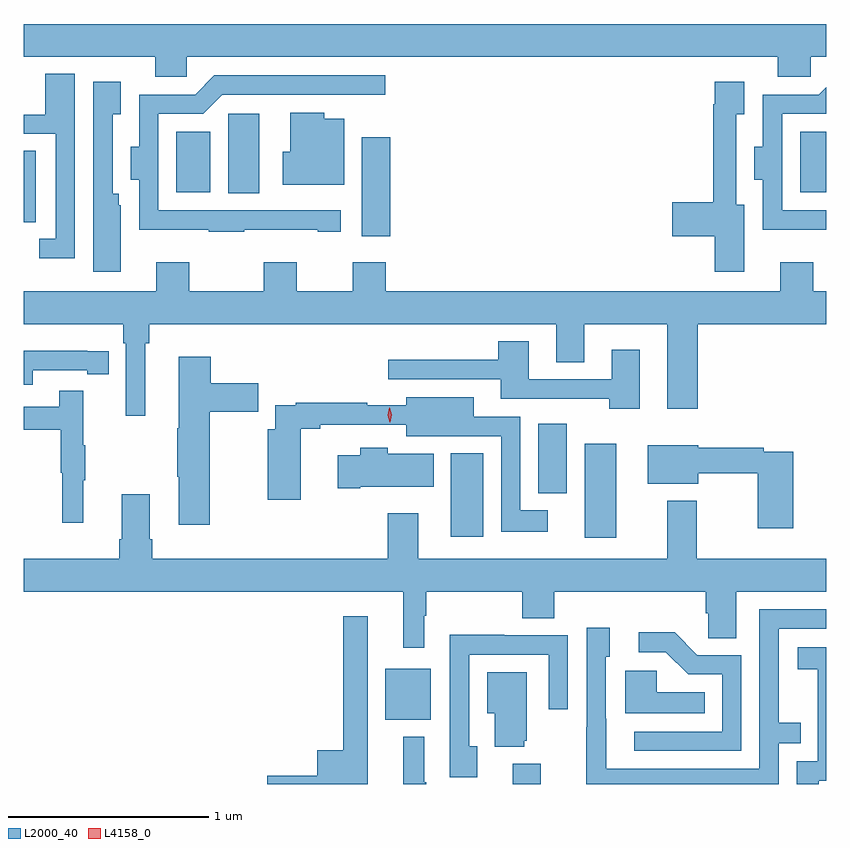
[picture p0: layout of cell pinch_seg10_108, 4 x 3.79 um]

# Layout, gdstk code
import gdstk
lib = gdstk.Library(unit=1e-6, precision=1e-09)
def R(c, l, rs):  # rectangles x0, y0, x1, y1
    for r in rs: c.add(gdstk.rectangle(r[:2], r[2:], *l))
def P(c, l, *ps):  # polygons
    for p in ps: c.add(gdstk.Polygon(p, *l))
L2000_40 = (2000, 40)
L4158_0 = (4158, 0)

pinch_seg10_108 = lib.new_cell('pinch_seg10_108')
R(pinch_seg10_108, L2000_40, [(673.607,1298.025,673.747,1298.125), (672.971,1298.345,673.198,1298.599), (673.964,1299.252,674.122,1299.721), (673.298,1299.258,673.459,1299.673), (673.733,1299.473,673.876,1299.82), (672.854,1300.755,672.995,1301.248), (671.169,1300.824,671.23,1301.18), (672.188,1300.969,672.343,1301.364), (671.93,1300.973,672.1,1301.275), (675.038,1300.973,675.169,1301.275)])
P(pinch_seg10_108, L2000_40, [(671.982,1301.648),(674.927,1301.648),(674.927,1301.55),(675.09,1301.55),(675.09,1301.648),(675.169,1301.648),(675.169,1301.812),(671.169,1301.812),(671.169,1301.648),(671.824,1301.648),(671.824,1301.55),(671.982,1301.55)],
  [(671.424,1301.563),(671.276,1301.563),(671.276,1301.361),(671.169,1301.361),(671.169,1301.265),(671.328,1301.265),(671.328,1300.743),(671.247,1300.743),(671.247,1300.646),(671.424,1300.646)],
  [(672.269,1300.787),(672.635,1300.787),(672.635,1300.776),(672.748,1300.776),(672.748,1300.884),(671.841,1300.884),(671.841,1301.364),(672.063,1301.364),(672.159,1301.46),(672.97,1301.46),(672.97,1301.556),(672.12,1301.556),(672.024,1301.46),(671.744,1301.46),(671.744,1301.2),(671.702,1301.2),(671.702,1301.036),(671.745,1301.036),(671.745,1300.787),(672.091,1300.787),(672.091,1300.776),(672.269,1300.776)],
  [(671.653,1300.908),(671.644,1300.908),(671.644,1300.966),(671.613,1300.966),(671.613,1301.363),(671.653,1301.363),(671.653,1301.524),(671.517,1301.524),(671.517,1300.862),(671.516,1300.862),(671.516,1300.578),(671.653,1300.578)],
  [(674.761,1300.912),(674.721,1300.912),(674.721,1301.363),(674.761,1301.363),(674.761,1301.524),(674.613,1301.524),(674.613,1301.411),(674.605,1301.411),(674.605,1300.925),(674.4,1300.925),(674.4,1300.754),(674.612,1300.754),(674.612,1300.578),(674.761,1300.578)],
  [(675.169,1300.884),(674.949,1300.884),(674.949,1301.364),(675.169,1301.364),(675.169,1301.497),(675.132,1301.46),(674.852,1301.46),(674.852,1301.2),(674.81,1301.2),(674.81,1301.036),(674.853,1301.036),(674.853,1300.787),(675.169,1300.787)],
  [(672.766,1301.341),(672.668,1301.341),(672.668,1301.371),(672.497,1301.371),(672.497,1301.176),(672.461,1301.176),(672.461,1301.012),(672.766,1301.012)],
  [(671.776,1300.22),(671.795,1300.22),(671.795,1300.316),(673.823,1300.316),(673.823,1300.126),(673.963,1300.126),(673.963,1300.316),(674.375,1300.316),(674.375,1299.894),(674.528,1299.894),(674.528,1300.316),(675.169,1300.316),(675.169,1300.48),(675.103,1300.48),(675.103,1300.624),(674.939,1300.624),(674.939,1300.48),(672.973,1300.48),(672.973,1300.624),(672.809,1300.624),(672.809,1300.48),(672.529,1300.48),(672.529,1300.624),(672.365,1300.624),(672.365,1300.48),(671.995,1300.48),(671.995,1300.624),(671.831,1300.624),(671.831,1300.48),(671.169,1300.48),(671.169,1300.316),(671.666,1300.316),(671.666,1300.22),(671.679,1300.22),(671.679,1299.861),(671.776,1299.861)],
  [(674.239,1300.189),(674.099,1300.189),(674.099,1300.041),(673.687,1300.041),(673.687,1300.231),(673.535,1300.231),(673.535,1300.138),(672.987,1300.138),(672.987,1300.041),(673.547,1300.041),(673.547,1299.945),(674.087,1299.945),(674.087,1299.894),(674.239,1299.894)],
  [(671.214,1300.086),(671.486,1300.086),(671.486,1300.066),(671.594,1300.066),(671.594,1300.182),(671.486,1300.182),(671.486,1300.183),(671.169,1300.183),(671.169,1300.014),(671.214,1300.014)],
  [(672.096,1299.881),(672.337,1299.881),(672.337,1300.023),(672.101,1300.023),(672.101,1300.153),(671.942,1300.153),(671.942,1299.797),(671.935,1299.797),(671.935,1299.556),(671.942,1299.556),(671.942,1299.318),(672.096,1299.318)],
  [(671.465,1299.539),(671.476,1299.539),(671.476,1299.713),(671.465,1299.713),(671.465,1299.985),(671.347,1299.985),(671.347,1299.906),(671.169,1299.906),(671.169,1299.79),(671.355,1299.79),(671.355,1299.576),(671.362,1299.576),(671.362,1299.327),(671.465,1299.327)],
  [(673.78,1299.388),(673.644,1299.388),(673.644,1299.855),(673.411,1299.855),(673.411,1299.952),(673.076,1299.952),(673.076,1299.912),(672.88,1299.912),(672.88,1299.925),(672.526,1299.925),(672.526,1299.912),(672.422,1299.912),(672.422,1299.793),(672.385,1299.793),(672.385,1299.441),(672.55,1299.441),(672.55,1299.796),(672.646,1299.796),(672.646,1299.816),(673.076,1299.816),(673.076,1299.758),(673.302,1299.758),(673.302,1299.759),(673.548,1299.759),(673.548,1299.281),(673.78,1299.281)],
  [(675.005,1299.681),(674.858,1299.681),(674.858,1299.701),(674.53,1299.701),(674.53,1299.712),(674.279,1299.712),(674.279,1299.521),(674.53,1299.521),(674.53,1299.573),(674.827,1299.573),(674.827,1299.3),(675.005,1299.3)],
  [(672.847,1299.506),(673.213,1299.506),(673.213,1299.67),(672.984,1299.67),(672.984,1299.7),(672.847,1299.7),(672.847,1299.664),(672.735,1299.664),(672.735,1299.499),(672.847,1299.499)],
  [(673.165,1298.863),(673.175,1298.863),(673.175,1298.984),(673.654,1298.984),(673.654,1298.851),(673.814,1298.851),(673.814,1298.984),(674.567,1298.984),(674.567,1298.875),(674.58,1298.875),(674.58,1298.752),(674.719,1298.752),(674.719,1298.984),(675.169,1298.984),(675.169,1299.148),(674.523,1299.148),(674.523,1299.436),(674.375,1299.436),(674.375,1299.148),(673.135,1299.148),(673.135,1299.373),(672.983,1299.373),(672.983,1299.148),(671.81,1299.148),(671.81,1299.244),(671.797,1299.244),(671.797,1299.469),(671.657,1299.469),(671.657,1299.244),(671.645,1299.244),(671.645,1299.148),(671.169,1299.148),(671.169,1298.984),(673.061,1298.984),(673.061,1298.703),(673.165,1298.703)],
  [(674.931,1298.229),(675.041,1298.229),(675.041,1298.33),(674.931,1298.33),(674.931,1298.799),(675.169,1298.799),(675.169,1298.895),(674.835,1298.895),(674.835,1298.1),(674.071,1298.1),(674.071,1298.351),(674.07,1298.351),(674.07,1298.658),(674.089,1298.658),(674.089,1298.803),(673.974,1298.803),(673.974,1298.309),(673.972,1298.309),(673.972,1298.025),(674.931,1298.025)],
  [(672.883,1298.86),(672.762,1298.86),(672.762,1298.194),(672.632,1298.194),(672.632,1298.066),(672.384,1298.066),(672.384,1298.025),(672.883,1298.025)],
  [(674.745,1298.667),(674.526,1298.667),(674.413,1298.78),(674.235,1298.78),(674.235,1298.682),(674.369,1298.682),(674.48,1298.571),(674.649,1298.571),(674.649,1298.286),(674.211,1298.286),(674.211,1298.19),(674.745,1298.19)],
  [(673.429,1298.214),(673.389,1298.214),(673.389,1298.67),(673.785,1298.67),(673.785,1298.397),(673.881,1298.397),(673.881,1298.766),(673.565,1298.766),(673.565,1298.768),(673.293,1298.768),(673.293,1298.058),(673.429,1298.058)],
  [(675.13,1298.041),(675.169,1298.041),(675.169,1298.707),(675.027,1298.707),(675.027,1298.597),(675.125,1298.597),(675.125,1298.369),(675.126,1298.369),(675.126,1298.139),(675.021,1298.139),(675.021,1298.025),(675.13,1298.025)],
  [(674.564,1298.482),(674.325,1298.482),(674.325,1298.59),(674.168,1298.59),(674.168,1298.378),(674.564,1298.378)],
  [(673.664,1298.241),(673.675,1298.241),(673.675,1298.581),(673.478,1298.581),(673.478,1298.378),(673.517,1298.378),(673.517,1298.21),(673.664,1298.21)],
  [(673.175,1298.033),(673.165,1298.033),(673.165,1298.26),(673.061,1298.26),(673.061,1298.025),(673.175,1298.025)])
P(pinch_seg10_108, L4158_0, [(672.994,1299.828),(672.994,1299.828),(672.983,1299.863),(672.992,1299.899),(672.992,1299.899),(672.993,1299.899),(673.003,1299.864),(672.995,1299.828)])

lib.write_gds('pinch_seg10_108.gds')
